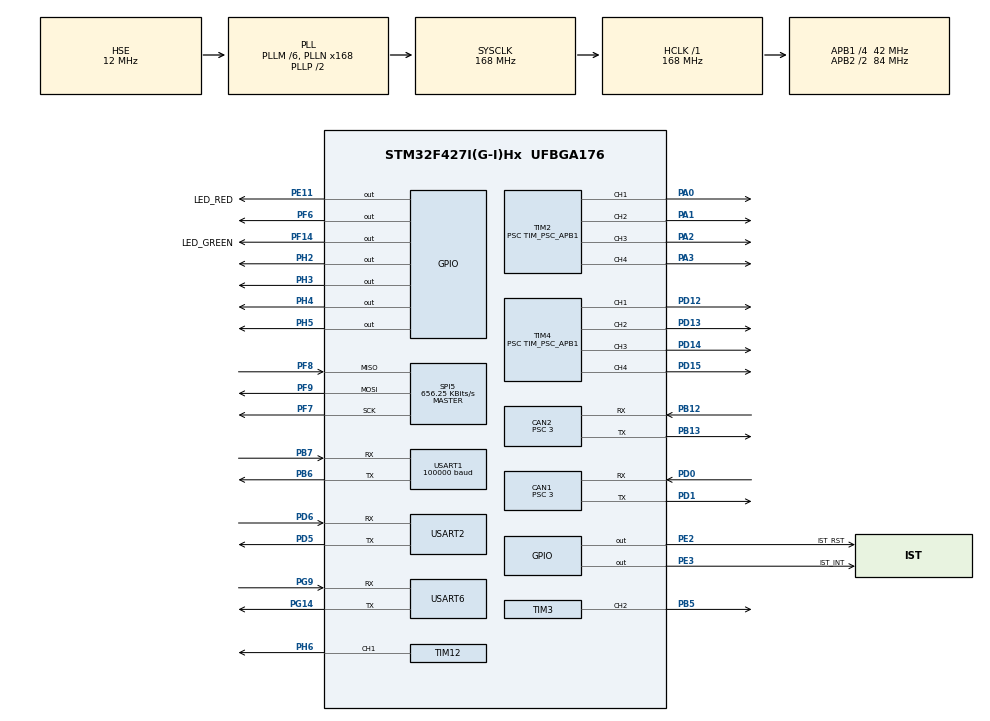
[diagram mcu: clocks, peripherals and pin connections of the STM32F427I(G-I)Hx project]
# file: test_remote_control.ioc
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CAN1.BS1=CAN_BS1_9TQ
CAN1.BS2=CAN_BS2_4TQ
CAN1.CalculateTimeQuantum=71.42857142857143
CAN1.Prescaler=3
CAN2.BS1=CAN_BS1_9TQ
CAN2.BS2=CAN_BS2_4TQ
CAN2.CalculateTimeQuantum=71.42857142857143
CAN2.Prescaler=3
Dma.Request0=USART1_RX
Dma.Request1=USART2_RX
Dma.Request2=USART2_TX
Dma.USART1_RX.0.Direction=DMA_PERIPH_TO_MEMORY
Dma.USART1_RX.0.FIFOMode=DMA_FIFOMODE_DISABLE
Dma.USART1_RX.0.Instance=DMA2_Stream2
Dma.USART1_RX.0.MemDataAlignment=DMA_MDATAALIGN_BYTE
Dma.USART1_RX.0.MemInc=DMA_MINC_ENABLE
Dma.USART1_RX.0.Mode=DMA_CIRCULAR
Dma.USART1_RX.0.PeriphDataAlignment=DMA_PDATAALIGN_BYTE
Dma.USART1_RX.0.PeriphInc=DMA_PINC_DISABLE
Dma.USART1_RX.0.Priority=DMA_PRIORITY_VERY_HIGH
Dma.USART2_RX.1.Direction=DMA_PERIPH_TO_MEMORY
Dma.USART2_RX.1.FIFOMode=DMA_FIFOMODE_DISABLE
Dma.USART2_RX.1.Instance=DMA1_Stream5
Dma.USART2_RX.1.MemDataAlignment=DMA_MDATAALIGN_BYTE
Dma.USART2_RX.1.MemInc=DMA_MINC_ENABLE
Dma.USART2_RX.1.Mode=DMA_NORMAL
Dma.USART2_RX.1.PeriphDataAlignment=DMA_PDATAALIGN_BYTE
Dma.USART2_RX.1.PeriphInc=DMA_PINC_DISABLE
Dma.USART2_RX.1.Priority=DMA_PRIORITY_LOW
Dma.USART2_TX.2.Direction=DMA_MEMORY_TO_PERIPH
Dma.USART2_TX.2.FIFOMode=DMA_FIFOMODE_DISABLE
Dma.USART2_TX.2.Instance=DMA1_Stream6
Dma.USART2_TX.2.MemDataAlignment=DMA_MDATAALIGN_BYTE
Dma.USART2_TX.2.MemInc=DMA_MINC_ENABLE
Dma.USART2_TX.2.Mode=DMA_NORMAL
Dma.USART2_TX.2.PeriphDataAlignment=DMA_PDATAALIGN_BYTE
Dma.USART2_TX.2.PeriphInc=DMA_PINC_DISABLE
Dma.USART2_TX.2.Priority=DMA_PRIORITY_LOW
Mcu.Family=STM32F4
Mcu.Name=STM32F427I(G-I)Hx
Mcu.Package=UFBGA176
Mcu.UserConstants=APB1_TIMER_CLOCKS,84000000;APB2_TIMER_CLOCKS,168000000;PWM_FREQUENCE,50;PWM_RESOLUTION,10000;PWM_DEFAULT_DUTY,5000;TIM_PSC_APB1,((APB1_TIMER_CLOCKS/PWM_FREQUENCE)/PWM_RESOLUTION -1);TIM_PSC_APB2,((APB2_TIMER_CLOCKS/PWM_FREQUENCE)/PWM_RESOLUTION -1)
NVIC.CAN1_RX0_IRQn=true\:0\:0\:false\:false\:true\:true\:true
NVIC.CAN1_TX_IRQn=true\:0\:0\:false\:false\:true\:true\:true
NVIC.CAN2_RX0_IRQn=true\:0\:0\:false\:false\:true\:true\:true
NVIC.CAN2_TX_IRQn=true\:0\:0\:false\:false\:true\:true\:true
NVIC.DMA1_Stream5_IRQn=true\:0\:0\:false\:false\:true\:false\:true
NVIC.DMA1_Stream6_IRQn=true\:0\:0\:false\:false\:true\:false\:true
NVIC.DMA2_Stream2_IRQn=true\:0\:0\:false\:false\:true\:false\:true
NVIC.PriorityGroup=NVIC_PRIORITYGROUP_4
NVIC.USART1_IRQn=true\:0\:0\:false\:false\:true\:true\:true
NVIC.USART2_IRQn=true\:0\:0\:false\:false\:true\:true\:true
NVIC.USART6_IRQn=true\:0\:0\:false\:false\:true\:true\:true
PA0/WKUP.Signal=S_TIM2_CH1_ETR
PA1.Signal=S_TIM2_CH2
PA13.Mode=Serial_Wire
PA13.Signal=SYS_JTMS-SWDIO
PA14.Mode=Serial_Wire
PA14.Signal=SYS_JTCK-SWCLK
PA2.Signal=S_TIM2_CH3
PA3.Signal=S_TIM2_CH4
PB12.Mode=Slave
PB12.Signal=CAN2_RX
PB13.Mode=Slave
PB13.Signal=CAN2_TX
PB5.Signal=S_TIM3_CH2
PB6.Mode=Asynchronous
PB6.Signal=USART1_TX
PB7.Mode=Asynchronous
PB7.Signal=USART1_RX
PD0.Mode=Master
PD0.Signal=CAN1_RX
PD1.Mode=Master
PD1.Signal=CAN1_TX
PD12.Signal=S_TIM4_CH1
PD13.Signal=S_TIM4_CH2
PD14.Signal=S_TIM4_CH3
PD15.Signal=S_TIM4_CH4
PD5.Mode=Asynchronous
PD5.Signal=USART2_TX
PD6.Mode=Asynchronous
PD6.Signal=USART2_RX
PE11.GPIO_Label=LED_RED
PE11.Signal=GPIO_Output
PE2.GPIO_Label=IST_RST
PE2.GPIO_Speed=GPIO_SPEED_FREQ_VERY_HIGH
PE2.Signal=GPIO_Output
PE3.GPIO_Label=IST_INT
PE3.GPIO_Speed=GPIO_SPEED_FREQ_VERY_HIGH
PE3.Signal=GPIO_Output
PF14.GPIO_Label=LED_GREEN
PF14.Signal=GPIO_Output
PF6.Signal=GPIO_Output
PF7.Mode=Full_Duplex_Master
PF7.Signal=SPI5_SCK
PF8.Mode=Full_Duplex_Master
PF8.Signal=SPI5_MISO
PF9.Mode=Full_Duplex_Master
PF9.Signal=SPI5_MOSI
PG14.Mode=Asynchronous
PG14.Signal=USART6_TX
PG9.Mode=Asynchronous
PG9.Signal=USART6_RX
PH0/OSC_IN.Mode=HSE-External-Oscillator
PH0/OSC_IN.Signal=RCC_OSC_IN
PH1/OSC_OUT.Mode=HSE-External-Oscillator
PH1/OSC_OUT.Signal=RCC_OSC_OUT
PH2.Signal=GPIO_Output
PH3.Signal=GPIO_Output
PH4.Signal=GPIO_Output
PH5.Signal=GPIO_Output
PH6.Signal=S_TIM12_CH1
ProjectManager.HeapSize=0x200
ProjectManager.StackSize=0x400
ProjectManager.TargetToolchain=STM32CubeIDE
RCC.48MHZClocksFreq_Value=84000000
RCC.AHBFreq_Value=168000000
RCC.APB1CLKDivider=RCC_HCLK_DIV4
RCC.APB1Freq_Value=42000000
RCC.APB1TimFreq_Value=84000000
RCC.APB2CLKDivider=RCC_HCLK_DIV2
RCC.APB2Freq_Value=84000000
RCC.APB2TimFreq_Value=168000000
RCC.CortexFreq_Value=168000000
RCC.HCLKFreq_Value=168000000
RCC.HSE_VALUE=12000000
RCC.HSI_VALUE=16000000
RCC.LSE_VALUE=32768
RCC.PLLM=6
RCC.PLLN=168
RCC.PLLSourceVirtual=RCC_PLLSOURCE_HSE
RCC.SYSCLKFreq_VALUE=168000000
RCC.SYSCLKSource=RCC_SYSCLKSOURCE_PLLCLK
RCC.VCOOutputFreq_Value=336000000
SH.S_TIM12_CH1.0=TIM12_CH1,PWM Generation1 CH1
SH.S_TIM2_CH1_ETR.0=TIM2_CH1,PWM Generation1 CH1
SH.S_TIM2_CH2.0=TIM2_CH2,PWM Generation2 CH2
SH.S_TIM2_CH3.0=TIM2_CH3,PWM Generation3 CH3
SH.S_TIM2_CH4.0=TIM2_CH4,PWM Generation4 CH4
SH.S_TIM3_CH2.0=TIM3_CH2,PWM Generation2 CH2
SH.S_TIM4_CH1.0=TIM4_CH1,PWM Generation1 CH1
SH.S_TIM4_CH2.0=TIM4_CH2,PWM Generation2 CH2
SH.S_TIM4_CH3.0=TIM4_CH3,PWM Generation3 CH3
SH.S_TIM4_CH4.0=TIM4_CH4,PWM Generation4 CH4
SPI5.BaudRatePrescaler=SPI_BAUDRATEPRESCALER_128
SPI5.CalculateBaudRate=656.25 KBits/s
SPI5.Direction=SPI_DIRECTION_2LINES
SPI5.Mode=SPI_MODE_MASTER
SPI5.VirtualType=VM_MASTER
TIM12.Channel-PWM\ Generation1\ CH1=TIM_CHANNEL_1
TIM12.Period=7777
TIM12.Prescaler=3
TIM2.Channel-PWM\ Generation1\ CH1=TIM_CHANNEL_1
TIM2.Channel-PWM\ Generation2\ CH2=TIM_CHANNEL_2
TIM2.Channel-PWM\ Generation3\ CH3=TIM_CHANNEL_3
TIM2.Channel-PWM\ Generation4\ CH4=TIM_CHANNEL_4
TIM2.Period=PWM_RESOLUTION-1
TIM2.Prescaler=TIM_PSC_APB1
TIM2.Pulse-PWM\ Generation1\ CH1=PWM_DEFAULT_DUTY
TIM2.Pulse-PWM\ Generation2\ CH2=PWM_DEFAULT_DUTY
TIM2.Pulse-PWM\ Generation3\ CH3=PWM_DEFAULT_DUTY
TIM2.Pulse-PWM\ Generation4\ CH4=PWM_DEFAULT_DUTY
TIM3.Channel-PWM\ Generation2\ CH2=TIM_CHANNEL_2
TIM3.Period=4999
TIM3.Prescaler=0
TIM4.Channel-PWM\ Generation1\ CH1=TIM_CHANNEL_1
TIM4.Channel-PWM\ Generation2\ CH2=TIM_CHANNEL_2
TIM4.Channel-PWM\ Generation3\ CH3=TIM_CHANNEL_3
TIM4.Channel-PWM\ Generation4\ CH4=TIM_CHANNEL_4
TIM4.Period=PWM_RESOLUTION-1
TIM4.Prescaler=TIM_PSC_APB1
TIM4.Pulse-PWM\ Generation1\ CH1=PWM_DEFAULT_DUTY
TIM4.Pulse-PWM\ Generation2\ CH2=PWM_DEFAULT_DUTY
TIM4.Pulse-PWM\ Generation3\ CH3=PWM_DEFAULT_DUTY
TIM4.Pulse-PWM\ Generation4\ CH4=PWM_DEFAULT_DUTY
USART1.BaudRate=100000
USART1.Parity=PARITY_EVEN
USART1.VirtualMode=VM_ASYNC
USART2.VirtualMode=VM_ASYNC
USART6.VirtualMode=VM_ASYNC
board=custom

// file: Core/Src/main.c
/* USER CODE BEGIN Header */
/**
  ******************************************************************************
  * @file           : main.c
  * @brief          : Main program body
  ******************************************************************************
  * @attention
  *
  * <h2><center>&copy; Copyright (c) 2020 STMicroelectronics.
  * All rights reserved.</center></h2>
  *
  * This software component is licensed by ST under BSD 3-Clause license,
  * the "License"; You may not use this file except in compliance with the
  * License. You may obtain a copy of the License at:
  *                        opensource.org/licenses/BSD-3-Clause
  *
  ******************************************************************************
  */
/* USER CODE END Header */

#include "main.h"

/* USER CODE BEGIN Includes */
#include <stdlib.h>
#include <stdio.h>
#include "rm_uart.h"
#include "rm_gpio.h"
#include "rm_can.h"
#include "rm_imu.h"
#include "rm_pwm.h"
#include "rm_ctrl.h"

/* USER CODE END Includes */

/* USER CODE BEGIN PD */
#define INF_2
// default positions
#ifdef INF_2
#define YAW_POS_DEFAULT (2617)
#define PIT_POS_DEFAULT (4710)
#endif
/* USER CODE END PD */

CAN_HandleTypeDef hcan1;
CAN_HandleTypeDef hcan2;

SPI_HandleTypeDef hspi5;

TIM_HandleTypeDef htim2;
TIM_HandleTypeDef htim3;
TIM_HandleTypeDef htim4;
TIM_HandleTypeDef htim12;

UART_HandleTypeDef huart1;
UART_HandleTypeDef huart2;
UART_HandleTypeDef huart6;
DMA_HandleTypeDef hdma_usart1_rx;
DMA_HandleTypeDef hdma_usart2_rx;
DMA_HandleTypeDef hdma_usart2_tx;

/* USER CODE BEGIN PV */
char buf[200];
int count;

// target definitions
float wheels_speed[4] = {0};
float yaw_target = 0;
float pit_target = 0;
float trigger_target = 0;

// output definitions
int16_t wheels_out[4] = {0};
int16_t yaw_out = 0;
int16_t pit_out = 0;
int16_t trigger_out = 0;

// tracking variables
int16_t yaw_ecd;
/* USER CODE END PV */

void SystemClock_Config(void);
static void MX_GPIO_Init(void);
static void MX_DMA_Init(void);
static void MX_CAN1_Init(void);
static void MX_CAN2_Init(void);
static void MX_SPI5_Init(void);
static void MX_TIM2_Init(void);
static void MX_TIM4_Init(void);
static void MX_USART1_UART_Init(void);
static void MX_USART2_UART_Init(void);
static void MX_USART6_UART_Init(void);
static void MX_TIM3_Init(void);
static void MX_TIM12_Init(void);

int main(void)
{
  /* USER CODE BEGIN 1 */
  count = 0; // keep count in while loop and reset every 10s
  /* USER CODE END 1 */

  /* MCU Configuration--------------------------------------------------------*/

  /* Reset of all peripherals, Initializes the Flash interface and the Systick. */
  HAL_Init();

  /* Configure the system clock */
  SystemClock_Config();

  /* Initialize all configured peripherals */
  MX_GPIO_Init();
  MX_DMA_Init();
  MX_CAN1_Init();
  MX_CAN2_Init();
  MX_SPI5_Init();
  MX_TIM2_Init();
  MX_TIM4_Init();
  MX_USART1_UART_Init();
  MX_USART2_UART_Init();
  MX_USART6_UART_Init();
  MX_TIM3_Init();
  MX_TIM12_Init();
  /* USER CODE BEGIN 2 */

  led_off();
  power_on();
  dbus_uart_init();
  can_filter_init();
  mpu_device_init();
  init_quaternion();
  pwm_imu_start();
  pwm_buzzer_start();
  grand_pid_init();
  imu_calibration();

  yaw_target = YAW_POS_DEFAULT;
  pit_target = PIT_POS_DEFAULT;

  //yaw_target = imu.yaw;
  /* USER CODE END 2 */

  /* Infinite loop */
  /* USER CODE BEGIN WHILE */
  while (1)
  {
	mpu_get_data();
	imu_ahrs_update();
	imu_attitude_update();
	yaw_ecd = motors[4].ecd;

	yaw_target -= rc.ch1 * 100.0f / 660.0f;
	yaw_target = set_rotation_target(yaw_target, ECD_PERIOD);
	yaw_out = yaw_ecd_pid_ctrl(motors[4].ecd, yaw_target);

	//yaw_target += rc.ch1 * 1.0f / 660.0f;
	//yaw_target = set_rotation_target(yaw_target, ANGLE_PERIOD);
	//yaw_out = yaw_imu_pid_ctrl(imu.yaw, yaw_target);

	imu_temp_pid_ctrl(imu.temp, 50.0f);
	//can_transmit(&hcan1, CAN_CHASSIS_ALL_ID, 0,600,0,0);
	can_transmit(&hcan1, CAN_GIMBAL_ALL_ID, yaw_out, pit_out, trigger_out, 0);

	if (count%100 == 0)
	{
		HAL_GPIO_TogglePin(LED_GREEN_GPIO_Port, LED_GREEN_Pin);
	}

	/* reset count every 10s */
	if (count == 2000)
	{
		count = 0;
	}
	count++;
	HAL_Delay(5);
    /* USER CODE END WHILE */

  }
}

void SystemClock_Config(void)
{
  RCC_OscInitTypeDef RCC_OscInitStruct = {0};
  RCC_ClkInitTypeDef RCC_ClkInitStruct = {0};

  /** Configure the main internal regulator output voltage
  */
  __HAL_RCC_PWR_CLK_ENABLE();
  __HAL_PWR_VOLTAGESCALING_CONFIG(PWR_REGULATOR_VOLTAGE_SCALE1);
  /** Initializes the CPU, AHB and APB busses clocks
  */
  RCC_OscInitStruct.OscillatorType = RCC_OSCILLATORTYPE_HSE;
  RCC_OscInitStruct.HSEState = RCC_HSE_ON;
  RCC_OscInitStruct.PLL.PLLState = RCC_PLL_ON;
  RCC_OscInitStruct.PLL.PLLSource = RCC_PLLSOURCE_HSE;
  RCC_OscInitStruct.PLL.PLLM = 6;
  RCC_OscInitStruct.PLL.PLLN = 168;
  RCC_OscInitStruct.PLL.PLLP = RCC_PLLP_DIV2;
  RCC_OscInitStruct.PLL.PLLQ = 4;
  if (HAL_RCC_OscConfig(&RCC_OscInitStruct) != HAL_OK)
  {
    Error_Handler();
  }
  /** Initializes the CPU, AHB and APB busses clocks
  */
  RCC_ClkInitStruct.ClockType = RCC_CLOCKTYPE_HCLK|RCC_CLOCKTYPE_SYSCLK
                              |RCC_CLOCKTYPE_PCLK1|RCC_CLOCKTYPE_PCLK2;
  RCC_ClkInitStruct.SYSCLKSource = RCC_SYSCLKSOURCE_PLLCLK;
  RCC_ClkInitStruct.AHBCLKDivider = RCC_SYSCLK_DIV1;
  RCC_ClkInitStruct.APB1CLKDivider = RCC_HCLK_DIV4;
  RCC_ClkInitStruct.APB2CLKDivider = RCC_HCLK_DIV2;

  if (HAL_RCC_ClockConfig(&RCC_ClkInitStruct, FLASH_LATENCY_5) != HAL_OK)
  {
    Error_Handler();
  }
}

static void MX_CAN1_Init(void)
{

  hcan1.Instance = CAN1;
  hcan1.Init.Prescaler = 3;
  hcan1.Init.Mode = CAN_MODE_NORMAL;
  hcan1.Init.SyncJumpWidth = CAN_SJW_1TQ;
  hcan1.Init.TimeSeg1 = CAN_BS1_9TQ;
  hcan1.Init.TimeSeg2 = CAN_BS2_4TQ;
  hcan1.Init.TimeTriggeredMode = DISABLE;
  hcan1.Init.AutoBusOff = DISABLE;
  hcan1.Init.AutoWakeUp = DISABLE;
  hcan1.Init.AutoRetransmission = DISABLE;
  hcan1.Init.ReceiveFifoLocked = DISABLE;
  hcan1.Init.TransmitFifoPriority = DISABLE;
  if (HAL_CAN_Init(&hcan1) != HAL_OK)
  {
    Error_Handler();
  }

}

static void MX_CAN2_Init(void)
{

  hcan2.Instance = CAN2;
  hcan2.Init.Prescaler = 3;
  hcan2.Init.Mode = CAN_MODE_NORMAL;
  hcan2.Init.SyncJumpWidth = CAN_SJW_1TQ;
  hcan2.Init.TimeSeg1 = CAN_BS1_9TQ;
  hcan2.Init.TimeSeg2 = CAN_BS2_4TQ;
  hcan2.Init.TimeTriggeredMode = DISABLE;
  hcan2.Init.AutoBusOff = DISABLE;
  hcan2.Init.AutoWakeUp = DISABLE;
  hcan2.Init.AutoRetransmission = DISABLE;
  hcan2.Init.ReceiveFifoLocked = DISABLE;
  hcan2.Init.TransmitFifoPriority = DISABLE;
  if (HAL_CAN_Init(&hcan2) != HAL_OK)
  {
    Error_Handler();
  }

}

static void MX_SPI5_Init(void)
{

  /* SPI5 parameter configuration*/
  hspi5.Instance = SPI5;
  hspi5.Init.Mode = SPI_MODE_MASTER;
  hspi5.Init.Direction = SPI_DIRECTION_2LINES;
  hspi5.Init.DataSize = SPI_DATASIZE_8BIT;
  hspi5.Init.CLKPolarity = SPI_POLARITY_LOW;
  hspi5.Init.CLKPhase = SPI_PHASE_1EDGE;
  hspi5.Init.NSS = SPI_NSS_SOFT;
  hspi5.Init.BaudRatePrescaler = SPI_BAUDRATEPRESCALER_128;
  hspi5.Init.FirstBit = SPI_FIRSTBIT_MSB;
  hspi5.Init.TIMode = SPI_TIMODE_DISABLE;
  hspi5.Init.CRCCalculation = SPI_CRCCALCULATION_DISABLE;
  hspi5.Init.CRCPolynomial = 10;
  if (HAL_SPI_Init(&hspi5) != HAL_OK)
  {
    Error_Handler();
  }

}

static void MX_TIM2_Init(void)
{

  TIM_MasterConfigTypeDef sMasterConfig = {0};
  TIM_OC_InitTypeDef sConfigOC = {0};

  htim2.Instance = TIM2;
  htim2.Init.Prescaler = TIM_PSC_APB1;
  htim2.Init.CounterMode = TIM_COUNTERMODE_UP;
  htim2.Init.Period = PWM_RESOLUTION-1;
  htim2.Init.ClockDivision = TIM_CLOCKDIVISION_DIV1;
  htim2.Init.AutoReloadPreload = TIM_AUTORELOAD_PRELOAD_DISABLE;
  if (HAL_TIM_PWM_Init(&htim2) != HAL_OK)
  {
    Error_Handler();
  }
  sMasterConfig.MasterOutputTrigger = TIM_TRGO_RESET;
  sMasterConfig.MasterSlaveMode = TIM_MASTERSLAVEMODE_DISABLE;
  if (HAL_TIMEx_MasterConfigSynchronization(&htim2, &sMasterConfig) != HAL_OK)
  {
    Error_Handler();
  }
  sConfigOC.OCMode = TIM_OCMODE_PWM1;
  sConfigOC.Pulse = PWM_DEFAULT_DUTY;
  sConfigOC.OCPolarity = TIM_OCPOLARITY_HIGH;
  sConfigOC.OCFastMode = TIM_OCFAST_DISABLE;
  if (HAL_TIM_PWM_ConfigChannel(&htim2, &sConfigOC, TIM_CHANNEL_1) != HAL_OK)
  {
    Error_Handler();
  }
  if (HAL_TIM_PWM_ConfigChannel(&htim2, &sConfigOC, TIM_CHANNEL_2) != HAL_OK)
  {
    Error_Handler();
  }
  if (HAL_TIM_PWM_ConfigChannel(&htim2, &sConfigOC, TIM_CHANNEL_3) != HAL_OK)
  {
    Error_Handler();
  }
  if (HAL_TIM_PWM_ConfigChannel(&htim2, &sConfigOC, TIM_CHANNEL_4) != HAL_OK)
  {
    Error_Handler();
  }
  HAL_TIM_MspPostInit(&htim2);

}

static void MX_TIM3_Init(void)
{

  TIM_MasterConfigTypeDef sMasterConfig = {0};
  TIM_OC_InitTypeDef sConfigOC = {0};

  htim3.Instance = TIM3;
  htim3.Init.Prescaler = 0;
  htim3.Init.CounterMode = TIM_COUNTERMODE_UP;
  htim3.Init.Period = 4999;
  htim3.Init.ClockDivision = TIM_CLOCKDIVISION_DIV1;
  htim3.Init.AutoReloadPreload = TIM_AUTORELOAD_PRELOAD_DISABLE;
  if (HAL_TIM_PWM_Init(&htim3) != HAL_OK)
  {
    Error_Handler();
  }
  sMasterConfig.MasterOutputTrigger = TIM_TRGO_RESET;
  sMasterConfig.MasterSlaveMode = TIM_MASTERSLAVEMODE_DISABLE;
  if (HAL_TIMEx_MasterConfigSynchronization(&htim3, &sMasterConfig) != HAL_OK)
  {
    Error_Handler();
  }
  sConfigOC.OCMode = TIM_OCMODE_PWM1;
  sConfigOC.Pulse = 0;
  sConfigOC.OCPolarity = TIM_OCPOLARITY_HIGH;
  sConfigOC.OCFastMode = TIM_OCFAST_DISABLE;
  if (HAL_TIM_PWM_ConfigChannel(&htim3, &sConfigOC, TIM_CHANNEL_2) != HAL_OK)
  {
    Error_Handler();
  }
  HAL_TIM_MspPostInit(&htim3);

}

static void MX_TIM4_Init(void)
{

  TIM_MasterConfigTypeDef sMasterConfig = {0};
  TIM_OC_InitTypeDef sConfigOC = {0};

  htim4.Instance = TIM4;
  htim4.Init.Prescaler = TIM_PSC_APB1;
  htim4.Init.CounterMode = TIM_COUNTERMODE_UP;
  htim4.Init.Period = PWM_RESOLUTION-1;
  htim4.Init.ClockDivision = TIM_CLOCKDIVISION_DIV1;
  htim4.Init.AutoReloadPreload = TIM_AUTORELOAD_PRELOAD_DISABLE;
  if (HAL_TIM_PWM_Init(&htim4) != HAL_OK)
  {
    Error_Handler();
  }
  sMasterConfig.MasterOutputTrigger = TIM_TRGO_RESET;
  sMasterConfig.MasterSlaveMode = TIM_MASTERSLAVEMODE_DISABLE;
  if (HAL_TIMEx_MasterConfigSynchronization(&htim4, &sMasterConfig) != HAL_OK)
  {
    Error_Handler();
  }
  sConfigOC.OCMode = TIM_OCMODE_PWM1;
  sConfigOC.Pulse = PWM_DEFAULT_DUTY;
  sConfigOC.OCPolarity = TIM_OCPOLARITY_HIGH;
  sConfigOC.OCFastMode = TIM_OCFAST_DISABLE;
  if (HAL_TIM_PWM_ConfigChannel(&htim4, &sConfigOC, TIM_CHANNEL_1) != HAL_OK)
  {
    Error_Handler();
  }
  if (HAL_TIM_PWM_ConfigChannel(&htim4, &sConfigOC, TIM_CHANNEL_2) != HAL_OK)
  {
    Error_Handler();
  }
  if (HAL_TIM_PWM_ConfigChannel(&htim4, &sConfigOC, TIM_CHANNEL_3) != HAL_OK)
  {
    Error_Handler();
  }
  if (HAL_TIM_PWM_ConfigChannel(&htim4, &sConfigOC, TIM_CHANNEL_4) != HAL_OK)
  {
    Error_Handler();
  }
  HAL_TIM_MspPostInit(&htim4);

}

static void MX_TIM12_Init(void)
{

  TIM_OC_InitTypeDef sConfigOC = {0};

  htim12.Instance = TIM12;
  htim12.Init.Prescaler = 3;
  htim12.Init.CounterMode = TIM_COUNTERMODE_UP;
  htim12.Init.Period = 7777;
  htim12.Init.ClockDivision = TIM_CLOCKDIVISION_DIV1;
  htim12.Init.AutoReloadPreload = TIM_AUTORELOAD_PRELOAD_DISABLE;
  if (HAL_TIM_PWM_Init(&htim12) != HAL_OK)
  {
    Error_Handler();
  }
  sConfigOC.OCMode = TIM_OCMODE_PWM1;
  sConfigOC.Pulse = 0;
  sConfigOC.OCPolarity = TIM_OCPOLARITY_HIGH;
  sConfigOC.OCFastMode = TIM_OCFAST_DISABLE;
  if (HAL_TIM_PWM_ConfigChannel(&htim12, &sConfigOC, TIM_CHANNEL_1) != HAL_OK)
  {
    Error_Handler();
  }
  HAL_TIM_MspPostInit(&htim12);

}

static void MX_USART1_UART_Init(void)
{

  huart1.Instance = USART1;
  huart1.Init.BaudRate = 100000;
  huart1.Init.WordLength = UART_WORDLENGTH_8B;
  huart1.Init.StopBits = UART_STOPBITS_1;
  huart1.Init.Parity = UART_PARITY_EVEN;
  huart1.Init.Mode = UART_MODE_TX_RX;
  huart1.Init.HwFlowCtl = UART_HWCONTROL_NONE;
  huart1.Init.OverSampling = UART_OVERSAMPLING_16;
  if (HAL_UART_Init(&huart1) != HAL_OK)
  {
    Error_Handler();
  }

}

static void MX_USART2_UART_Init(void)
{

  huart2.Instance = USART2;
  huart2.Init.BaudRate = 115200;
  huart2.Init.WordLength = UART_WORDLENGTH_8B;
  huart2.Init.StopBits = UART_STOPBITS_1;
  huart2.Init.Parity = UART_PARITY_NONE;
  huart2.Init.Mode = UART_MODE_TX_RX;
  huart2.Init.HwFlowCtl = UART_HWCONTROL_NONE;
  huart2.Init.OverSampling = UART_OVERSAMPLING_16;
  if (HAL_UART_Init(&huart2) != HAL_OK)
  {
    Error_Handler();
  }

}

static void MX_USART6_UART_Init(void)
{

  huart6.Instance = USART6;
  huart6.Init.BaudRate = 115200;
  huart6.Init.WordLength = UART_WORDLENGTH_8B;
  huart6.Init.StopBits = UART_STOPBITS_1;
  huart6.Init.Parity = UART_PARITY_NONE;
  huart6.Init.Mode = UART_MODE_TX_RX;
  huart6.Init.HwFlowCtl = UART_HWCONTROL_NONE;
  huart6.Init.OverSampling = UART_OVERSAMPLING_16;
  if (HAL_UART_Init(&huart6) != HAL_OK)
  {
    Error_Handler();
  }

}

static void MX_DMA_Init(void)
{

  /* DMA controller clock enable */
  __HAL_RCC_DMA2_CLK_ENABLE();
  __HAL_RCC_DMA1_CLK_ENABLE();

  /* DMA interrupt init */
  /* DMA1_Stream5_IRQn interrupt configuration */
  HAL_NVIC_SetPriority(DMA1_Stream5_IRQn, 0, 0);
  HAL_NVIC_EnableIRQ(DMA1_Stream5_IRQn);
  /* DMA1_Stream6_IRQn interrupt configuration */
  HAL_NVIC_SetPriority(DMA1_Stream6_IRQn, 0, 0);
  HAL_NVIC_EnableIRQ(DMA1_Stream6_IRQn);
  /* DMA2_Stream2_IRQn interrupt configuration */
  HAL_NVIC_SetPriority(DMA2_Stream2_IRQn, 0, 0);
  HAL_NVIC_EnableIRQ(DMA2_Stream2_IRQn);

}

static void MX_GPIO_Init(void)
{
  GPIO_InitTypeDef GPIO_InitStruct = {0};

  /* GPIO Ports Clock Enable */
  __HAL_RCC_GPIOE_CLK_ENABLE();
  __HAL_RCC_GPIOB_CLK_ENABLE();
  __HAL_RCC_GPIOG_CLK_ENABLE();
  __HAL_RCC_GPIOA_CLK_ENABLE();
  __HAL_RCC_GPIOD_CLK_ENABLE();
  __HAL_RCC_GPIOH_CLK_ENABLE();
  __HAL_RCC_GPIOF_CLK_ENABLE();

  /*Configure GPIO pin Output Level */
  HAL_GPIO_WritePin(GPIOE, IST_INT_Pin|IST_RST_Pin|LED_RED_Pin, GPIO_PIN_RESET);

  /*Configure GPIO pin Output Level */
  HAL_GPIO_WritePin(GPIOH, GPIO_PIN_2|GPIO_PIN_3|GPIO_PIN_4|GPIO_PIN_5, GPIO_PIN_RESET);

  /*Configure GPIO pin Output Level */
  HAL_GPIO_WritePin(GPIOF, GPIO_PIN_6|LED_GREEN_Pin, GPIO_PIN_RESET);

  /*Configure GPIO pins : IST_INT_Pin IST_RST_Pin */
  GPIO_InitStruct.Pin = IST_INT_Pin|IST_RST_Pin;
  GPIO_InitStruct.Mode = GPIO_MODE_OUTPUT_PP;
  GPIO_InitStruct.Pull = GPIO_NOPULL;
  GPIO_InitStruct.Speed = GPIO_SPEED_FREQ_VERY_HIGH;
  HAL_GPIO_Init(GPIOE, &GPIO_InitStruct);

  /*Configure GPIO pins : PH2 PH3 PH4 PH5 */
  GPIO_InitStruct.Pin = GPIO_PIN_2|GPIO_PIN_3|GPIO_PIN_4|GPIO_PIN_5;
  GPIO_InitStruct.Mode = GPIO_MODE_OUTPUT_PP;
  GPIO_InitStruct.Pull = GPIO_NOPULL;
  GPIO_InitStruct.Speed = GPIO_SPEED_FREQ_LOW;
  HAL_GPIO_Init(GPIOH, &GPIO_InitStruct);

  /*Configure GPIO pins : PF6 LED_GREEN_Pin */
  GPIO_InitStruct.Pin = GPIO_PIN_6|LED_GREEN_Pin;
  GPIO_InitStruct.Mode = GPIO_MODE_OUTPUT_PP;
  GPIO_InitStruct.Pull = GPIO_NOPULL;
  GPIO_InitStruct.Speed = GPIO_SPEED_FREQ_LOW;
  HAL_GPIO_Init(GPIOF, &GPIO_InitStruct);

  /*Configure GPIO pin : LED_RED_Pin */
  GPIO_InitStruct.Pin = LED_RED_Pin;
  GPIO_InitStruct.Mode = GPIO_MODE_OUTPUT_PP;
  GPIO_InitStruct.Pull = GPIO_NOPULL;
  GPIO_InitStruct.Speed = GPIO_SPEED_FREQ_LOW;
  HAL_GPIO_Init(LED_RED_GPIO_Port, &GPIO_InitStruct);

}

void Error_Handler(void)
{
}

/************************ (C) COPYRIGHT STMicroelectronics *****END OF FILE****/
